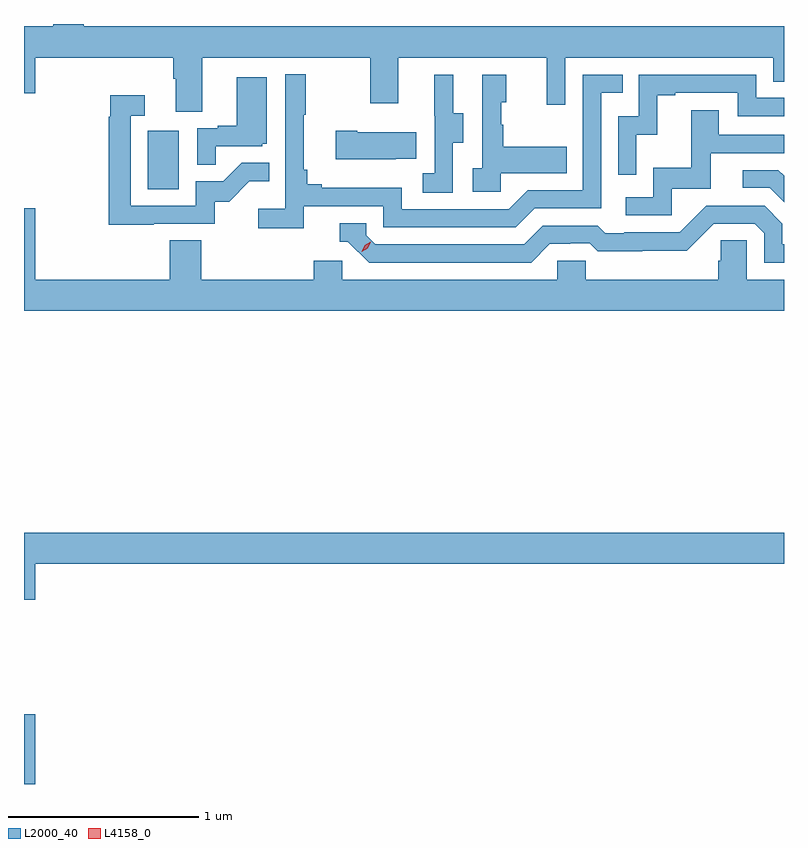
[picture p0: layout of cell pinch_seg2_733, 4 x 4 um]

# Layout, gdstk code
import gdstk
lib = gdstk.Library(unit=1e-6, precision=1e-09)
def R(c, l, rs):  # rectangles x0, y0, x1, y1
    for r in rs: c.add(gdstk.rectangle(r[:2], r[2:], *l))
def P(c, l, *ps):  # polygons
    for p in ps: c.add(gdstk.Polygon(p, *l))
L2000_40 = (2000, 40)
L4158_0 = (4158, 0)

pinch_seg2_733 = lib.new_cell('pinch_seg2_733')
R(pinch_seg2_733, L2000_40, [(884.393,658.465,884.452,658.831), (885.044,661.596,885.208,661.903)])
P(pinch_seg2_733, L2000_40, [(885.331,662.288),(886.216,662.288),(886.216,662.049),(886.363,662.049),(886.363,662.288),(887.144,662.288),(887.144,662.04),(887.241,662.04),(887.241,662.288),(888.336,662.288),(888.336,662.161),(888.393,662.161),(888.393,662.452),(884.708,662.452),(884.708,662.465),(884.548,662.465),(884.548,662.452),(884.393,662.452),(884.393,662.1),(884.452,662.1),(884.452,662.288),(885.179,662.288),(885.179,662.176),(885.191,662.176),(885.191,662.002),(885.331,662.002)],
  [(885.866,661.506),(886.284,661.506),(886.284,661.395),(886.981,661.395),(887.08,661.494),(887.43,661.494),(887.43,662.103),(887.543,662.103),(887.543,662.199),(887.334,662.199),(887.334,661.59),(887.043,661.59),(886.944,661.491),(886.38,661.491),(886.38,661.603),(885.961,661.603),(885.961,661.622),(885.884,661.622),(885.884,661.699),(885.865,661.699),(885.865,661.987),(885.877,661.987),(885.877,662.2),(885.768,662.2),(885.768,661.492),(885.627,661.492),(885.627,661.39),(885.866,661.39)],
  [(887.616,661.883),(887.726,661.883),(887.726,662.091),(887.821,662.091),(887.821,662.103),(888.15,662.103),(888.15,661.98),(888.393,661.98),(888.393,662.076),(888.246,662.076),(888.246,662.199),(887.628,662.199),(887.628,661.98),(887.52,661.98),(887.52,661.671),(887.616,661.671)],
  [(886.65,661.84),(886.705,661.84),(886.705,661.995),(886.651,661.995),(886.651,662.197),(886.553,662.197),(886.553,661.983),(886.554,661.983),(886.554,661.679),(886.491,661.679),(886.491,661.576),(886.65,661.576)],
  [(886.902,661.679),(887.249,661.679),(887.249,661.819),(886.915,661.819),(886.915,661.934),(886.905,661.934),(886.905,662.052),(886.93,662.052),(886.93,662.197),(886.806,662.197),(886.806,661.706),(886.755,661.706),(886.755,661.581),(886.902,661.581)],
  [(885.401,661.821),(885.648,661.821),(885.648,661.836),(885.67,661.836),(885.67,662.185),(885.512,662.185),(885.512,661.93),(885.413,661.93),(885.413,661.917),(885.306,661.917),(885.306,661.723),(885.401,661.723)],
  [(885.077,661.413),(885.396,661.413),(885.396,661.53),(885.472,661.53),(885.579,661.637),(885.683,661.637),(885.683,661.736),(885.539,661.736),(885.441,661.638),(885.297,661.638),(885.297,661.509),(884.955,661.509),(884.955,661.983),(885.028,661.983),(885.028,662.089),(884.847,662.089),(884.847,661.976),(884.839,661.976),(884.839,661.408),(885.077,661.408)],
  [(887.802,661.599),(888.007,661.599),(888.007,661.785),(888.393,661.785),(888.393,661.881),(888.049,661.881),(888.049,662.011),(887.905,662.011),(887.905,661.708),(887.706,661.708),(887.706,661.554),(887.559,661.554),(887.559,661.458),(887.802,661.458)],
  [(886.349,661.757),(886.457,661.757),(886.457,661.894),(886.147,661.894),(886.147,661.902),(886.035,661.902),(886.035,661.754),(886.349,661.754)],
  [(888.393,661.666),(888.364,661.695),(888.177,661.695),(888.177,661.602),(888.318,661.602),(888.393,661.527)],
  [(887.161,661.308),(887.268,661.308),(887.268,661.311),(887.371,661.311),(887.413,661.269),(887.646,661.269),(887.646,661.271),(887.882,661.271),(888.024,661.413),(888.24,661.413),(888.288,661.365),(888.288,661.209),(888.393,661.209),(888.393,661.305),(888.385,661.305),(888.385,661.415),(888.291,661.509),(887.985,661.509),(887.844,661.368),(887.551,661.368),(887.551,661.365),(887.452,661.365),(887.413,661.404),(887.124,661.404),(887.025,661.305),(886.242,661.305),(886.194,661.353),(886.194,661.416),(886.055,661.416),(886.055,661.32),(886.098,661.32),(886.209,661.209),(887.062,661.209)],
  [(888.393,661.12),(888.198,661.12),(888.198,661.328),(888.061,661.328),(888.061,661.218),(888.047,661.218),(888.047,661.12),(887.349,661.12),(887.349,661.218),(887.199,661.218),(887.199,661.12),(886.068,661.12),(886.068,661.218),(885.917,661.218),(885.917,661.12),(885.326,661.12),(885.326,661.328),(885.161,661.328),(885.161,661.12),(884.452,661.12),(884.452,661.495),(884.393,661.495),(884.393,660.956),(888.393,660.956)],
  [(884.452,659.624),(888.393,659.624),(888.393,659.788),(884.393,659.788),(884.393,659.436),(884.452,659.436)])
P(pinch_seg2_733, L4158_0, [(886.171,661.267),(886.171,661.267),(886.187,661.3),(886.218,661.319),(886.218,661.319),(886.218,661.319),(886.202,661.286),(886.171,661.267)])

lib.write_gds('pinch_seg2_733.gds')
